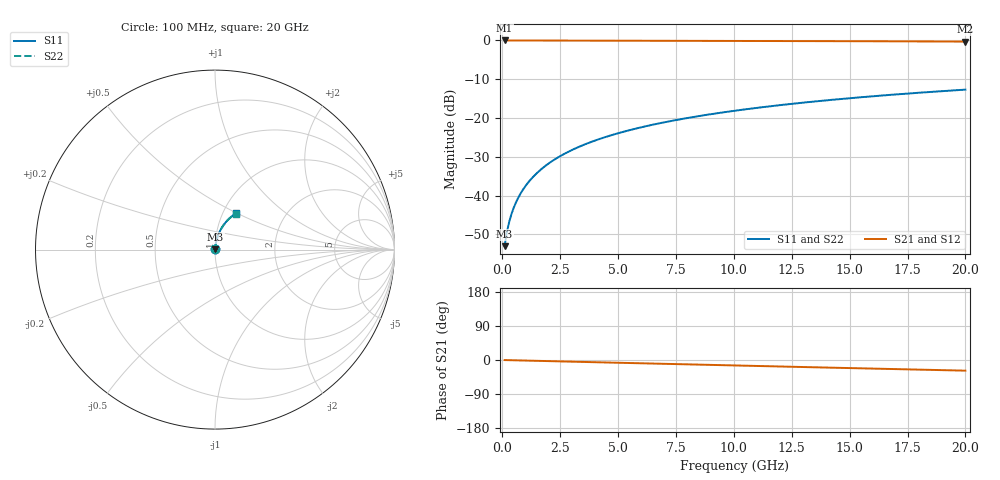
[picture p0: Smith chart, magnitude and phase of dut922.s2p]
! Touchstone file exported from HFSS 2026.1.0
!  File:  C:/ffzhzh/LocalFiles/Ansys_Project_Files/temp_train_BSMRDL_922_1783171771_55132.aedt
!  Generated:  09:30:43 PM Jul  4, 2026
!  Design:  BSMRDL
!  Project:  temp_train_BSMRDL_922_1783171771_55132
! Variables:
!  h_bsmrdl = 3.49um
!  h_ox = 20um
!  h_rdl = 5um
!  h_sub = 80um
!  h_tmrdl = 5um
!  h_tsv = 80um
!  h_via = 3um
!  l_bsmrdl = 403.51um
!  l_sub = 803.51um
!  l_tmrdl = 200um
!  m_sub = 200um
!  pitch = 51.34um
!  r_tsv = 6um
!  s_tmrdl = 10um
!  w_bsmrdl = 28.98um
!  w_sub = 500um
!  w_tmrdl = 12um
!  x_tsv_center1 = 206um
!  x_tsv_center2 = 638.49um
!  x_tsv_center3 = 850.49um
!  x_tsv_center4 = 1282.98um
!  x_tsv_center5 = 1494.98um
!  x_tsv_center6 = 1927.47um
# GHz S MA R 50.000000
! Terminal data exported
! Port[1] = BSM_RDL1_1_T1
! Port[2] = BSM_RDL1_1_T2
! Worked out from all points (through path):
!   200 points, 100 MHz to 20 GHz, reference 50 ohm
!   highest |S21| = -0.01 dB at 100 MHz (marker M1); lowest = -0.3 dB at 20 GHz (marker M2)
!   group delay of S21, straight-line fit = 3.9 ps
!   lowest |S11| = -53.0 dB at 100 MHz (marker M3), VSWR 1.00, Z = 50.2 + j0.147 ohm
!   |S11| at or under -10 dB: start of sweep to end of sweep
!   |S22| runs from -53.0 to -12.7 dB; largest |S21 - S12| = 2e-15
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0.1  0.002232 41.1  0.9983 -0.2  0.9983 -0.2  0.002232 41.1
! Gamma 0 0 0 0
! Port Impedance 50 0 50 0
0.2  0.003387 57.6  0.9982 -0.3  0.9982 -0.3  0.003387 57.6
0.3  0.004612 64.9  0.9981 -0.5  0.9981 -0.5  0.004613 64.9
0.4  0.005836 69.1  0.998 -0.6  0.998 -0.6  0.005836 69.1
0.5  0.00706 72.0  0.9979 -0.7  0.9979 -0.7  0.00706 72.0
0.6  0.008288 74.1  0.9978 -0.9  0.9978 -0.9  0.008289 74.1
0.8  0.01077 76.9  0.9977 -1.2  0.9977 -1.2  0.01077 76.9
1.1  0.01453 79.3  0.9976 -1.6  0.9976 -1.6  0.01453 79.3
1.3  0.01705 80.2  0.9975 -1.9  0.9975 -1.9  0.01705 80.2
1.6  0.02085 81.1  0.9974 -2.3  0.9974 -2.3  0.02085 81.0
2.1  0.0272 81.6  0.9971 -3.1  0.9971 -3.1  0.0272 81.6
2.7  0.03481 81.6  0.9967 -4.0  0.9967 -4.0  0.03481 81.6
3.5  0.04491 81.2  0.9961 -5.1  0.9961 -5.1  0.04491 81.1
4.2  0.05368 80.5  0.9954 -6.1  0.9954 -6.1  0.05368 80.5
5  0.06363 79.6  0.9945 -7.3  0.9945 -7.3  0.06363 79.6
5.9  0.0747 78.5  0.9934 -8.6  0.9934 -8.6  0.0747 78.5
6.8  0.08566 77.4  0.9922 -9.9  0.9922 -9.9  0.08566 77.3
8.3  0.1036 75.4  0.9899 -12.0  0.9899 -12.0  0.1036 75.4
10.1  0.1248 73.1  0.9869 -14.5  0.9869 -14.5  0.1248 73.0
13.4  0.1623 68.7  0.9805 -19.1  0.9805 -19.1  0.1623 68.7
16.7  0.1981 64.4  0.9733 -23.7  0.9733 -23.7  0.1981 64.3
20  0.232 60.1  0.9653 -28.1  0.9653 -28.1  0.232 60.0
